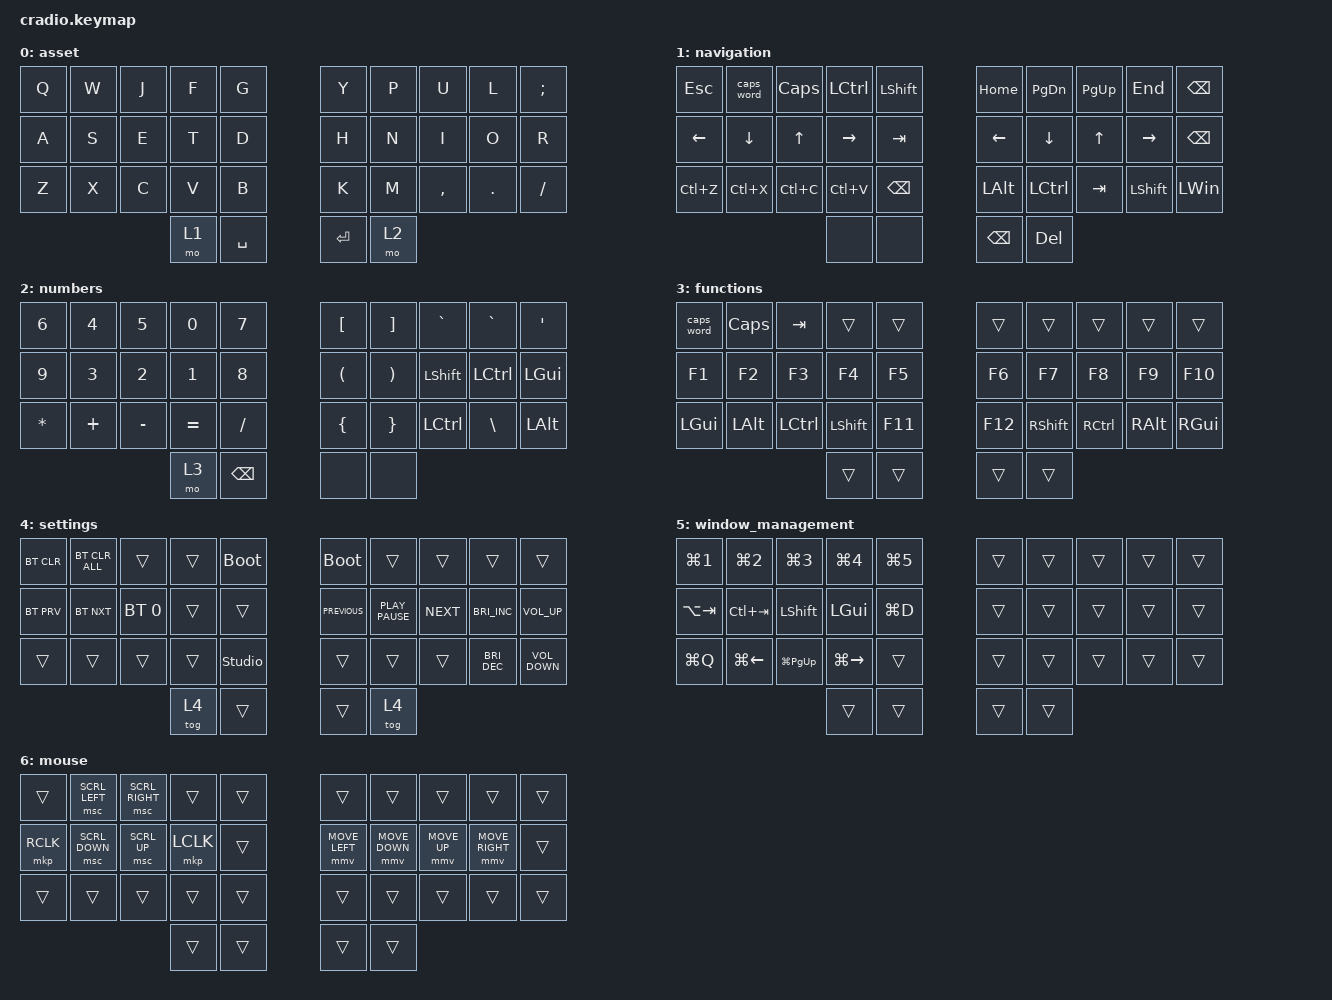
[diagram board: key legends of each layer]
// Copyright (c) 2022 The ZMK Contributors
// SPDX-License-Identifier: MIT

#define ZMK_POINTING_DEFAULT_MOVE_VAL 2500  // 600
#define ZMK_POINTING_DEFAULT_SCRL_VAL 20    // 10

#include <behaviors.dtsi>
#include <dt-bindings/zmk/bt.h>
#include <dt-bindings/zmk/keys.h>
#include <dt-bindings/zmk/pointing.h>

/ {
    keys {
        compatible = "gpio-keys";

        soft_off_gpio_key: soft_off_gpio_key { gpios = <&gpio1 6 (GPIO_ACTIVE_LOW | GPIO_PULL_UP)>; };
    };

    wakeup_scan: wakeup_scan {
        compatible = "zmk,kscan-gpio-direct";
        input-keys = <&soft_off_gpio_key>;
        wakeup-source;
    };

    side_band_behavior_triggers: side_band_behavior_triggers {
        compatible = "zmk,kscan-sideband-behaviors";
        kscan = <&wakeup_scan>;
        auto-enable;
        wakeup-source;
    };

    soft_off_wakers {
        compatible = "zmk,soft-off-wakeup-sources";
        wakeup-sources = <&wakeup_scan>;
    };

    chosen { zmk,charmap = &charmap_us; };

    behaviors {
        ht: hold_tap {
            label = "hold_tap";
            compatible = "zmk,behavior-hold-tap";
            #binding-cells = <2>;
            flavor = "balanced";
            tapping-term-ms = <200>;
            quick-tap-ms = <150>;
            global-quick-tap;
            bindings = <&kp>, <&kp>;
        };

        mmv {
            acceleration-exponent = <1>;      // 1
            time-to-max-speed-ms = <300>;    // 40
            delay-ms = <0>;                   // 0
        };

        msc {
            acceleration-exponent = <0>;      // 0
            time-to-max-speed-ms = <40>;      // 500
            delay-ms = <0>;                   // 10
        };
    };

    combos {
        compatible = "zmk,combos";

        settings-layer-left {
            bindings = <&to 4>;
            key-positions = <0 3>;
            timeout-ms = <500>;
            require-prior-idle-ms = <1>;
            layers = <0>;
        };

        settings-layer-right {
            bindings = <&to 4>;
            key-positions = <6 9>;
            timeout-ms = <500>;
            require-prior-idle-ms = <1>;
            layers = <0>;
        };

        lgui {
            bindings = <&kp LGUI>;
            key-positions = <30 12>;
            timeout-ms = <50>;
            require-prior-idle-ms = <25>;
            layers = <0>;
        };

        rgui {
            bindings = <&kp LGUI>;
            key-positions = <33 17>;
            timeout-ms = <50>;
            require-prior-idle-ms = <25>;
            layers = <0>;
        };

        lalt {
            bindings = <&kp LALT>;
            key-positions = <13 30>;
            timeout-ms = <50>;
            require-prior-idle-ms = <25>;
            layers = <0>;
        };

        ralt {
            bindings = <&kp LALT>;
            key-positions = <16 33>;
            timeout-ms = <50>;
            require-prior-idle-ms = <25>;
            layers = <0>;
        };

        lshift {
            bindings = <&kp LSHIFT>;
            key-positions = <31 12>;
            timeout-ms = <50>;
            require-prior-idle-ms = <25>;
            layers = <0>;
        };

        rshift {
            bindings = <&kp LSHIFT>;
            key-positions = <32 17>;
            timeout-ms = <100>;
            require-prior-idle-ms = <25>;
            layers = <0>;
        };

        lctrl {
            bindings = <&kp LCTRL>;
            key-positions = <13 31>;
            timeout-ms = <50>;
            require-prior-idle-ms = <25>;
            layers = <0>;
        };

        rctrl {
            bindings = <&kp LCTRL>;
            key-positions = <16 32>;
            timeout-ms = <100>;
            require-prior-idle-ms = <25>;
            layers = <0>;
        };

        ctrl-shift {
            bindings = <&kp LC(LSHIFT)>;
            key-positions = <16 17 32>;
            timeout-ms = <100>;
            require-prior-idle-ms = <25>;
            layers = <0>;
        };

        l_ctrl_shift {
            bindings = <&kp LC(LSHIFT)>;
            key-positions = <12 13 31>;
            timeout-ms = <100>;
            require-prior-idle-ms = <25>;
            layers = <0>;
        };

        r-ctrl-alt {
            bindings = <&kp LC(LEFT_ALT)>;
            key-positions = <16 17 33>;
            timeout-ms = <100>;
            require-prior-idle-ms = <25>;
            layers = <0>;
        };

        l-ctrl-alt {
            bindings = <&kp LC(LEFT_ALT)>;
            key-positions = <12 13 30>;
            timeout-ms = <100>;
            require-prior-idle-ms = <25>;
            layers = <0>;
        };

        window_management {
            bindings = <&mo 5>;
            key-positions = <30 33>;
        };

        mouse_middle_click {
            bindings = <&mkp MCLK>;
            key-positions = <12 11>;
            layers = <6>;
        };

        mo_mouse {
            bindings = <&mo 6>;
            key-positions = <32 31>;
        };
    };

    keymap {
        compatible = "zmk,keymap";

        asset {
            bindings = <
&kp Q  &kp W  &kp J  &kp F  &kp G        &kp Y      &kp P  &kp U      &kp L    &kp SEMI
&kp A  &kp S  &kp E  &kp T  &kp D        &kp H      &kp N  &kp I      &kp O    &kp R
&kp Z  &kp X  &kp C  &kp V  &kp B        &kp K      &kp M  &kp COMMA  &kp DOT  &kp FSLH
                     &mo 1  &kp SPACE    &kp ENTER  &mo 2
            >;
        };

        navigation {
            bindings = <
&kp ESC         &caps_word      &kp CAPS      &kp LCTRL        &kp LEFT_SHIFT    &kp HOME       &kp PAGE_DOWN     &kp PAGE_UP  &kp END         &kp BSPC
&kp LEFT_ARROW  &kp DOWN_ARROW  &kp UP_ARROW  &kp RIGHT_ARROW  &kp TAB           &kp LEFT       &kp DOWN          &kp UP       &kp RIGHT       &kp BACKSPACE
&kp LC(Z)       &kp LC(X)       &kp LC(C)     &kp LC(V)        &kp BACKSPACE     &kp LEFT_ALT   &kp LEFT_CONTROL  &kp TAB      &kp LEFT_SHIFT  &kp LEFT_WIN
                                              &none            &none             &kp BACKSPACE  &kp DELETE
            >;
        };

        numbers {
            bindings = <
&kp N6        &kp N4    &kp N5     &kp N0     &kp N7      &kp LEFT_BRACKET      &kp RIGHT_BRACKET      &kp GRAVE  &kp GRAVE      &kp SINGLE_QUOTE
&kp N9        &kp N3    &kp N2     &kp N1     &kp N8      &kp LEFT_PARENTHESIS  &kp RIGHT_PARENTHESIS  &kp LSHFT  &kp LCTRL      &kp LGUI
&kp ASTERISK  &kp PLUS  &kp MINUS  &kp EQUAL  &kp FSLH    &kp LEFT_BRACE        &kp RIGHT_BRACE        &kp LCTRL  &kp BACKSLASH  &kp LALT
                                   &mo 3      &kp BSPC    &none                 &none
            >;
        };

        functions {
            bindings = <
&caps_word  &kp CAPS  &kp TAB    &trans     &trans     &trans   &trans     &trans     &trans    &trans
&kp F1      &kp F2    &kp F3     &kp F4     &kp F5     &kp F6   &kp F7     &kp F8     &kp F9    &kp F10
&kp LGUI    &kp LALT  &kp LCTRL  &kp LSHFT  &kp F11    &kp F12  &kp RSHFT  &kp RCTRL  &kp RALT  &kp RGUI
                                 &trans     &trans     &trans   &trans
            >;
        };

        settings {
            bindings = <
&bt BT_CLR  &bt BT_CLR_ALL  &trans        &trans  &bootloader       &bootloader     &trans            &trans      &trans                &trans
&bt BT_PRV  &bt BT_NXT      &bt BT_SEL 0  &trans  &trans            &kp K_PREVIOUS  &kp K_PLAY_PAUSE  &kp K_NEXT  &kp C_BRIGHTNESS_INC  &kp K_VOLUME_UP
&trans      &trans          &trans        &trans  &studio_unlock    &trans          &trans            &trans      &kp C_BRIGHTNESS_DEC  &kp K_VOLUME_DOWN
                                          &tog 4  &trans            &trans          &tog 4
            >;
        };

        window_management {
            bindings = <
&kp LG(NUMBER_1)  &kp LG(N2)    &kp LG(N3)       &kp LG(N4)     &kp LG(N5)    &trans  &trans  &trans  &trans  &trans
&kp LA(TAB)       &kp LC(TAB)   &kp LSHFT        &kp LGUI       &kp LG(D)     &trans  &trans  &trans  &trans  &trans
&kp LG(Q)         &kp LG(LEFT)  &kp LG(PAGE_UP)  &kp LG(RIGHT)  &trans        &trans  &trans  &trans  &trans  &trans
                                                 &trans         &trans        &trans  &trans
            >;
        };

        mouse {
            bindings = <
&trans     &msc SCRL_LEFT  &msc SCRL_RIGHT  &trans     &trans    &trans          &trans          &trans        &trans           &trans
&mkp RCLK  &msc SCRL_DOWN  &msc SCRL_UP     &mkp LCLK  &trans    &mmv MOVE_LEFT  &mmv MOVE_DOWN  &mmv MOVE_UP  &mmv MOVE_RIGHT  &trans
&trans     &trans          &trans           &trans     &trans    &trans          &trans          &trans        &trans           &trans
                                            &trans     &trans    &trans          &trans
            >;
        };
    };
};
